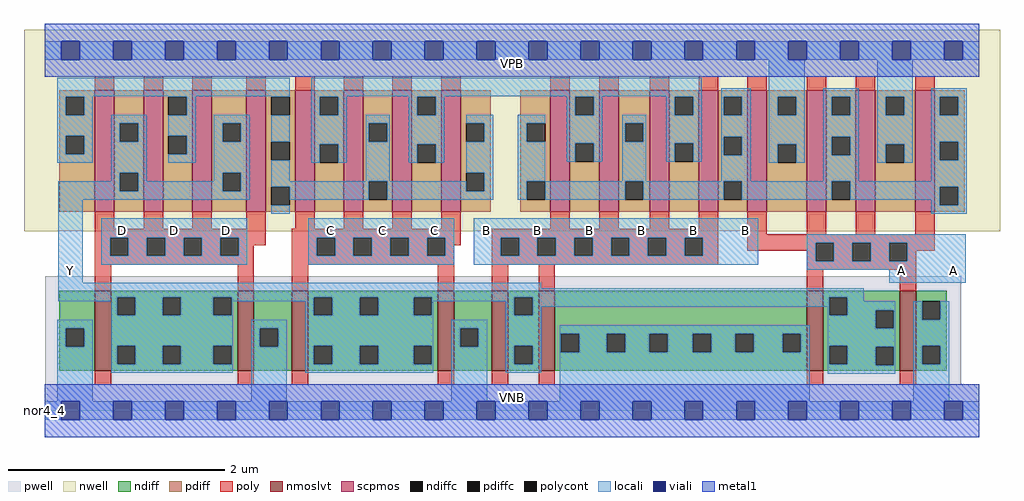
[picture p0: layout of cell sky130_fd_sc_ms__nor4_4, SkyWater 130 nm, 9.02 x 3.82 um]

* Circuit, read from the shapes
.subckt sky130_fd_sc_ms__nor4_4 A B C D VGND VNB VPB VPWR Y
XM1 Y D VGND VNB sky130_fd_pr__nfet_01v8_lvt w=0.74 l=0.15 m=2
XM2 Y C VGND VNB sky130_fd_pr__nfet_01v8_lvt w=0.74 l=0.15 m=2
XM3 Y B VGND VNB sky130_fd_pr__nfet_01v8_lvt w=0.74 l=0.15 m=2
XM4 Y A VGND VNB sky130_fd_pr__nfet_01v8_lvt w=0.74 l=0.15 m=2
XM5 Y D n1 VPB sky130_fd_pr__pfet_01v8 w=1.12 l=0.18 m=4
XM6 n2 C n1 VPB sky130_fd_pr__pfet_01v8 w=1.12 l=0.18 m=4
XM7 n2 B n3 VPB sky130_fd_pr__pfet_01v8 w=1.12 l=0.18 m=4
XM8 VPWR A n3 VPB sky130_fd_pr__pfet_01v8 w=1.12 l=0.18 m=4
.ends

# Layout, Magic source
magic
tech sky130A
magscale 1 2
<< nwell >>
rect -38 332 1766 704
<< pwell >>
rect 1 49 1694 248
rect 0 0 1728 49
<< scpmos >>
rect 93 368 129 592
rect 183 368 219 592
rect 273 368 309 592
rect 373 368 409 592
rect 463 368 499 592
rect 553 368 589 592
rect 643 368 679 592
rect 733 368 769 592
rect 935 368 971 592
rect 1025 368 1061 592
rect 1119 368 1155 592
rect 1209 368 1245 592
rect 1299 368 1335 592
rect 1409 368 1445 592
rect 1499 368 1535 592
rect 1609 368 1645 592
<< nmoslvt >>
rect 93 74 123 222
rect 357 74 387 222
rect 457 74 487 222
rect 727 74 757 222
rect 827 74 857 222
rect 913 74 943 222
rect 1409 74 1439 222
rect 1581 74 1611 222
<< ndiff >>
rect 27 152 93 222
rect 27 118 39 152
rect 73 118 93 152
rect 27 74 93 118
rect 123 210 357 222
rect 123 176 134 210
rect 168 176 218 210
rect 252 176 312 210
rect 346 176 357 210
rect 123 120 357 176
rect 123 86 134 120
rect 168 86 218 120
rect 252 86 312 120
rect 346 86 357 120
rect 123 74 357 86
rect 387 152 457 222
rect 387 118 398 152
rect 432 118 457 152
rect 387 74 457 118
rect 487 210 727 222
rect 487 176 498 210
rect 532 176 583 210
rect 617 176 682 210
rect 716 176 727 210
rect 487 120 727 176
rect 487 86 498 120
rect 532 86 583 120
rect 617 86 682 120
rect 716 86 727 120
rect 487 74 727 86
rect 757 152 827 222
rect 757 118 768 152
rect 802 118 827 152
rect 757 74 827 118
rect 857 210 913 222
rect 857 176 868 210
rect 902 176 913 210
rect 857 120 913 176
rect 857 86 868 120
rect 902 86 913 120
rect 857 74 913 86
rect 943 142 1409 222
rect 943 108 954 142
rect 988 108 1039 142
rect 1073 108 1118 142
rect 1152 108 1198 142
rect 1232 108 1277 142
rect 1311 108 1364 142
rect 1398 108 1409 142
rect 943 74 1409 108
rect 1439 210 1581 222
rect 1439 176 1450 210
rect 1484 186 1581 210
rect 1484 176 1536 186
rect 1439 152 1536 176
rect 1570 152 1581 186
rect 1439 120 1581 152
rect 1439 86 1450 120
rect 1484 118 1581 120
rect 1484 86 1536 118
rect 1439 84 1536 86
rect 1570 84 1581 118
rect 1439 74 1581 84
rect 1611 202 1668 222
rect 1611 168 1622 202
rect 1656 168 1668 202
rect 1611 120 1668 168
rect 1611 86 1622 120
rect 1656 86 1668 120
rect 1611 74 1668 86
<< pdiff >>
rect 27 580 93 592
rect 27 546 39 580
rect 73 546 93 580
rect 27 508 93 546
rect 27 474 39 508
rect 73 474 93 508
rect 27 368 93 474
rect 129 531 183 592
rect 129 497 139 531
rect 173 497 183 531
rect 129 440 183 497
rect 129 406 139 440
rect 173 406 183 440
rect 129 368 183 406
rect 219 580 273 592
rect 219 546 229 580
rect 263 546 273 580
rect 219 508 273 546
rect 219 474 229 508
rect 263 474 273 508
rect 219 368 273 474
rect 309 531 373 592
rect 309 497 329 531
rect 363 497 373 531
rect 309 440 373 497
rect 309 406 329 440
rect 363 406 373 440
rect 309 368 373 406
rect 409 580 463 592
rect 409 546 419 580
rect 453 546 463 580
rect 409 497 463 546
rect 409 463 419 497
rect 453 463 463 497
rect 409 414 463 463
rect 409 380 419 414
rect 453 380 463 414
rect 409 368 463 380
rect 499 580 553 592
rect 499 546 509 580
rect 543 546 553 580
rect 499 492 553 546
rect 499 458 509 492
rect 543 458 553 492
rect 499 368 553 458
rect 589 531 643 592
rect 589 497 599 531
rect 633 497 643 531
rect 589 424 643 497
rect 589 390 599 424
rect 633 390 643 424
rect 589 368 643 390
rect 679 580 733 592
rect 679 546 689 580
rect 723 546 733 580
rect 679 492 733 546
rect 679 458 689 492
rect 723 458 733 492
rect 679 368 733 458
rect 769 531 825 592
rect 769 497 779 531
rect 813 497 825 531
rect 769 440 825 497
rect 769 406 779 440
rect 813 406 825 440
rect 769 368 825 406
rect 879 531 935 592
rect 879 497 891 531
rect 925 497 935 531
rect 879 424 935 497
rect 879 390 891 424
rect 925 390 935 424
rect 879 368 935 390
rect 971 580 1025 592
rect 971 546 981 580
rect 1015 546 1025 580
rect 971 494 1025 546
rect 971 460 981 494
rect 1015 460 1025 494
rect 971 368 1025 460
rect 1061 531 1119 592
rect 1061 497 1073 531
rect 1107 497 1119 531
rect 1061 424 1119 497
rect 1061 390 1073 424
rect 1107 390 1119 424
rect 1061 368 1119 390
rect 1155 580 1209 592
rect 1155 546 1165 580
rect 1199 546 1209 580
rect 1155 494 1209 546
rect 1155 460 1165 494
rect 1199 460 1209 494
rect 1155 368 1209 460
rect 1245 580 1299 592
rect 1245 546 1255 580
rect 1289 546 1299 580
rect 1245 506 1299 546
rect 1245 472 1255 506
rect 1289 472 1299 506
rect 1245 424 1299 472
rect 1245 390 1255 424
rect 1289 390 1299 424
rect 1245 368 1299 390
rect 1335 580 1409 592
rect 1335 546 1355 580
rect 1389 546 1409 580
rect 1335 492 1409 546
rect 1335 458 1355 492
rect 1389 458 1409 492
rect 1335 368 1409 458
rect 1445 580 1499 592
rect 1445 546 1455 580
rect 1489 546 1499 580
rect 1445 506 1499 546
rect 1445 472 1455 506
rect 1489 472 1499 506
rect 1445 424 1499 472
rect 1445 390 1455 424
rect 1489 390 1499 424
rect 1445 368 1499 390
rect 1535 580 1609 592
rect 1535 546 1555 580
rect 1589 546 1609 580
rect 1535 492 1609 546
rect 1535 458 1555 492
rect 1589 458 1609 492
rect 1535 368 1609 458
rect 1645 580 1701 592
rect 1645 546 1655 580
rect 1689 546 1701 580
rect 1645 497 1701 546
rect 1645 463 1655 497
rect 1689 463 1701 497
rect 1645 414 1701 463
rect 1645 380 1655 414
rect 1689 380 1701 414
rect 1645 368 1701 380
<< ndiffc >>
rect 39 118 73 152
rect 134 176 168 210
rect 218 176 252 210
rect 312 176 346 210
rect 134 86 168 120
rect 218 86 252 120
rect 312 86 346 120
rect 398 118 432 152
rect 498 176 532 210
rect 583 176 617 210
rect 682 176 716 210
rect 498 86 532 120
rect 583 86 617 120
rect 682 86 716 120
rect 768 118 802 152
rect 868 176 902 210
rect 868 86 902 120
rect 954 108 988 142
rect 1039 108 1073 142
rect 1118 108 1152 142
rect 1198 108 1232 142
rect 1277 108 1311 142
rect 1364 108 1398 142
rect 1450 176 1484 210
rect 1536 152 1570 186
rect 1450 86 1484 120
rect 1536 84 1570 118
rect 1622 168 1656 202
rect 1622 86 1656 120
<< pdiffc >>
rect 39 546 73 580
rect 39 474 73 508
rect 139 497 173 531
rect 139 406 173 440
rect 229 546 263 580
rect 229 474 263 508
rect 329 497 363 531
rect 329 406 363 440
rect 419 546 453 580
rect 419 463 453 497
rect 419 380 453 414
rect 509 546 543 580
rect 509 458 543 492
rect 599 497 633 531
rect 599 390 633 424
rect 689 546 723 580
rect 689 458 723 492
rect 779 497 813 531
rect 779 406 813 440
rect 891 497 925 531
rect 891 390 925 424
rect 981 546 1015 580
rect 981 460 1015 494
rect 1073 497 1107 531
rect 1073 390 1107 424
rect 1165 546 1199 580
rect 1165 460 1199 494
rect 1255 546 1289 580
rect 1255 472 1289 506
rect 1255 390 1289 424
rect 1355 546 1389 580
rect 1355 458 1389 492
rect 1455 546 1489 580
rect 1455 472 1489 506
rect 1455 390 1489 424
rect 1555 546 1589 580
rect 1555 458 1589 492
rect 1655 546 1689 580
rect 1655 463 1689 497
rect 1655 380 1689 414
<< poly >>
rect 93 592 129 618
rect 183 592 219 618
rect 273 592 309 618
rect 373 592 409 618
rect 463 592 499 618
rect 553 592 589 618
rect 643 592 679 618
rect 733 592 769 618
rect 935 592 971 618
rect 1025 592 1061 618
rect 1119 592 1155 618
rect 1209 592 1245 618
rect 1299 592 1335 618
rect 1409 592 1445 618
rect 1499 592 1535 618
rect 1609 592 1645 618
rect 93 336 129 368
rect 183 336 219 368
rect 273 336 309 368
rect 373 336 409 368
rect 463 336 499 368
rect 553 336 589 368
rect 643 336 679 368
rect 733 336 769 368
rect 935 336 971 368
rect 1025 336 1061 368
rect 1119 336 1155 368
rect 1209 336 1245 368
rect 93 320 409 336
rect 93 286 121 320
rect 155 286 189 320
rect 223 286 257 320
rect 291 286 325 320
rect 359 306 409 320
rect 457 320 769 336
rect 359 286 387 306
rect 93 270 387 286
rect 93 222 123 270
rect 357 222 387 270
rect 457 286 503 320
rect 537 286 571 320
rect 605 286 639 320
rect 673 286 707 320
rect 741 306 769 320
rect 827 320 1245 336
rect 741 286 757 306
rect 457 270 757 286
rect 457 222 487 270
rect 727 222 757 270
rect 827 286 843 320
rect 877 286 911 320
rect 945 286 979 320
rect 1013 286 1047 320
rect 1081 286 1115 320
rect 1149 286 1183 320
rect 1217 286 1245 320
rect 1299 326 1335 368
rect 1409 326 1445 368
rect 1499 326 1535 368
rect 1609 326 1645 368
rect 1299 310 1645 326
rect 1299 296 1425 310
rect 827 270 1245 286
rect 1409 276 1425 296
rect 1459 276 1493 310
rect 1527 276 1561 310
rect 1595 296 1645 310
rect 1595 276 1611 296
rect 827 222 857 270
rect 913 222 943 270
rect 1409 260 1611 276
rect 1409 222 1439 260
rect 1581 222 1611 260
rect 93 48 123 74
rect 357 48 387 74
rect 457 48 487 74
rect 727 48 757 74
rect 827 48 857 74
rect 913 48 943 74
rect 1409 48 1439 74
rect 1581 48 1611 74
<< polycont >>
rect 121 286 155 320
rect 189 286 223 320
rect 257 286 291 320
rect 325 286 359 320
rect 503 286 537 320
rect 571 286 605 320
rect 639 286 673 320
rect 707 286 741 320
rect 843 286 877 320
rect 911 286 945 320
rect 979 286 1013 320
rect 1047 286 1081 320
rect 1115 286 1149 320
rect 1183 286 1217 320
rect 1425 276 1459 310
rect 1493 276 1527 310
rect 1561 276 1595 310
<< locali >>
rect 0 649 31 683
rect 65 649 127 683
rect 161 649 223 683
rect 257 649 319 683
rect 353 649 415 683
rect 449 649 511 683
rect 545 649 607 683
rect 641 649 703 683
rect 737 649 799 683
rect 833 649 895 683
rect 929 649 991 683
rect 1025 649 1087 683
rect 1121 649 1183 683
rect 1217 649 1279 683
rect 1313 649 1375 683
rect 1409 649 1471 683
rect 1505 649 1567 683
rect 1601 649 1663 683
rect 1697 649 1728 683
rect 23 581 453 615
rect 23 580 89 581
rect 23 546 39 580
rect 73 546 89 580
rect 229 580 279 581
rect 23 508 89 546
rect 23 474 39 508
rect 73 474 89 508
rect 23 458 89 474
rect 123 531 189 547
rect 123 497 139 531
rect 173 497 189 531
rect 123 440 189 497
rect 263 546 279 580
rect 419 580 453 581
rect 229 508 279 546
rect 263 474 279 508
rect 229 458 279 474
rect 313 531 379 547
rect 313 497 329 531
rect 363 497 379 531
rect 123 424 139 440
rect 25 406 139 424
rect 173 424 189 440
rect 313 440 379 497
rect 313 424 329 440
rect 173 406 329 424
rect 363 406 379 440
rect 25 390 379 406
rect 419 497 453 546
rect 419 424 453 463
rect 493 581 1215 615
rect 493 580 559 581
rect 493 546 509 580
rect 543 546 559 580
rect 673 580 739 581
rect 493 492 559 546
rect 493 458 509 492
rect 543 458 559 492
rect 594 531 638 547
rect 594 497 599 531
rect 633 497 638 531
rect 594 424 638 497
rect 673 546 689 580
rect 723 546 739 580
rect 965 580 1031 581
rect 673 492 739 546
rect 673 458 689 492
rect 723 458 739 492
rect 779 531 829 547
rect 813 497 829 531
rect 779 440 829 497
rect 419 414 599 424
rect 25 236 71 390
rect 453 390 599 414
rect 633 406 779 424
rect 813 406 829 440
rect 633 390 829 406
rect 875 531 925 547
rect 875 497 891 531
rect 875 424 925 497
rect 965 546 981 580
rect 1015 546 1031 580
rect 1149 580 1215 581
rect 965 494 1031 546
rect 965 460 981 494
rect 1015 460 1031 494
rect 1068 531 1112 547
rect 1068 497 1073 531
rect 1107 497 1112 531
rect 1068 424 1112 497
rect 1149 546 1165 580
rect 1199 546 1215 580
rect 1149 494 1215 546
rect 1149 460 1165 494
rect 1199 460 1215 494
rect 1251 580 1305 596
rect 1251 546 1255 580
rect 1289 546 1305 580
rect 1251 506 1305 546
rect 1251 472 1255 506
rect 1289 472 1305 506
rect 1251 424 1305 472
rect 1339 580 1405 649
rect 1339 546 1355 580
rect 1389 546 1405 580
rect 1339 492 1405 546
rect 1339 458 1355 492
rect 1389 458 1405 492
rect 1439 580 1505 596
rect 1439 546 1455 580
rect 1489 546 1505 580
rect 1439 506 1505 546
rect 1439 472 1455 506
rect 1489 472 1505 506
rect 1439 424 1505 472
rect 1539 580 1605 649
rect 1539 546 1555 580
rect 1589 546 1605 580
rect 1539 492 1605 546
rect 1539 458 1555 492
rect 1589 458 1605 492
rect 1639 580 1705 596
rect 1639 546 1655 580
rect 1689 546 1705 580
rect 1639 497 1705 546
rect 1639 463 1655 497
rect 1689 463 1705 497
rect 1639 424 1705 463
rect 875 390 891 424
rect 925 390 1073 424
rect 1107 390 1255 424
rect 1289 390 1455 424
rect 1489 414 1705 424
rect 1489 390 1655 414
rect 419 364 453 380
rect 1639 380 1655 390
rect 1689 380 1705 414
rect 1639 364 1705 380
rect 105 320 375 356
rect 105 286 121 320
rect 155 286 189 320
rect 223 286 257 320
rect 291 286 325 320
rect 359 286 375 320
rect 105 270 375 286
rect 487 320 757 356
rect 487 286 503 320
rect 537 286 571 320
rect 605 286 639 320
rect 673 286 707 320
rect 741 286 757 320
rect 487 270 757 286
rect 793 320 1319 356
rect 793 286 843 320
rect 877 286 911 320
rect 945 286 979 320
rect 1013 286 1047 320
rect 1081 286 1115 320
rect 1149 286 1183 320
rect 1217 286 1319 320
rect 793 270 1319 286
rect 1409 310 1703 326
rect 1409 276 1425 310
rect 1459 276 1493 310
rect 1527 276 1561 310
rect 1595 276 1703 310
rect 1409 260 1703 276
rect 1561 236 1703 260
rect 25 226 918 236
rect 25 210 1514 226
rect 25 202 134 210
rect 123 176 134 202
rect 168 176 218 210
rect 252 176 312 210
rect 346 202 498 210
rect 346 176 348 202
rect 23 152 89 168
rect 23 118 39 152
rect 73 118 89 152
rect 23 17 89 118
rect 123 120 348 176
rect 482 176 498 202
rect 532 176 583 210
rect 617 176 682 210
rect 716 202 868 210
rect 716 176 718 202
rect 123 86 134 120
rect 168 86 218 120
rect 252 86 312 120
rect 346 86 348 120
rect 123 70 348 86
rect 382 152 448 168
rect 382 118 398 152
rect 432 118 448 152
rect 382 17 448 118
rect 482 120 718 176
rect 852 176 868 202
rect 902 192 1450 210
rect 902 176 918 192
rect 482 86 498 120
rect 532 86 583 120
rect 617 86 682 120
rect 716 86 718 120
rect 482 70 718 86
rect 752 152 818 168
rect 752 118 768 152
rect 802 118 818 152
rect 752 17 818 118
rect 852 120 918 176
rect 1448 176 1450 192
rect 1484 202 1514 210
rect 1484 186 1572 202
rect 1484 176 1536 186
rect 852 86 868 120
rect 902 86 918 120
rect 852 70 918 86
rect 952 142 1414 158
rect 952 108 954 142
rect 988 108 1039 142
rect 1073 108 1118 142
rect 1152 108 1198 142
rect 1232 108 1277 142
rect 1311 108 1364 142
rect 1398 108 1414 142
rect 952 17 1414 108
rect 1448 152 1536 176
rect 1570 152 1572 186
rect 1448 120 1572 152
rect 1448 86 1450 120
rect 1484 118 1572 120
rect 1484 86 1536 118
rect 1448 84 1536 86
rect 1570 84 1572 118
rect 1448 68 1572 84
rect 1606 168 1622 202
rect 1656 168 1672 202
rect 1606 120 1672 168
rect 1606 86 1622 120
rect 1656 86 1672 120
rect 1606 17 1672 86
rect 0 -17 31 17
rect 65 -17 127 17
rect 161 -17 223 17
rect 257 -17 319 17
rect 353 -17 415 17
rect 449 -17 511 17
rect 545 -17 607 17
rect 641 -17 703 17
rect 737 -17 799 17
rect 833 -17 895 17
rect 929 -17 991 17
rect 1025 -17 1087 17
rect 1121 -17 1183 17
rect 1217 -17 1279 17
rect 1313 -17 1375 17
rect 1409 -17 1471 17
rect 1505 -17 1567 17
rect 1601 -17 1663 17
rect 1697 -17 1728 17
<< viali >>
rect 31 649 65 683
rect 127 649 161 683
rect 223 649 257 683
rect 319 649 353 683
rect 415 649 449 683
rect 511 649 545 683
rect 607 649 641 683
rect 703 649 737 683
rect 799 649 833 683
rect 895 649 929 683
rect 991 649 1025 683
rect 1087 649 1121 683
rect 1183 649 1217 683
rect 1279 649 1313 683
rect 1375 649 1409 683
rect 1471 649 1505 683
rect 1567 649 1601 683
rect 1663 649 1697 683
rect 31 -17 65 17
rect 127 -17 161 17
rect 223 -17 257 17
rect 319 -17 353 17
rect 415 -17 449 17
rect 511 -17 545 17
rect 607 -17 641 17
rect 703 -17 737 17
rect 799 -17 833 17
rect 895 -17 929 17
rect 991 -17 1025 17
rect 1087 -17 1121 17
rect 1183 -17 1217 17
rect 1279 -17 1313 17
rect 1375 -17 1409 17
rect 1471 -17 1505 17
rect 1567 -17 1601 17
rect 1663 -17 1697 17
<< metal1 >>
rect 0 683 1728 715
rect 0 649 31 683
rect 65 649 127 683
rect 161 649 223 683
rect 257 649 319 683
rect 353 649 415 683
rect 449 649 511 683
rect 545 649 607 683
rect 641 649 703 683
rect 737 649 799 683
rect 833 649 895 683
rect 929 649 991 683
rect 1025 649 1087 683
rect 1121 649 1183 683
rect 1217 649 1279 683
rect 1313 649 1375 683
rect 1409 649 1471 683
rect 1505 649 1567 683
rect 1601 649 1663 683
rect 1697 649 1728 683
rect 0 617 1728 649
rect 0 17 1728 49
rect 0 -17 31 17
rect 65 -17 127 17
rect 161 -17 223 17
rect 257 -17 319 17
rect 353 -17 415 17
rect 449 -17 511 17
rect 545 -17 607 17
rect 641 -17 703 17
rect 737 -17 799 17
rect 833 -17 895 17
rect 929 -17 991 17
rect 1025 -17 1087 17
rect 1121 -17 1183 17
rect 1217 -17 1279 17
rect 1313 -17 1375 17
rect 1409 -17 1471 17
rect 1505 -17 1567 17
rect 1601 -17 1663 17
rect 1697 -17 1728 17
rect 0 -49 1728 -17
<< labels >>
flabel pwell s 0 0 1728 49 0 FreeSans 200 0 0 0 VNB
port 6 nsew ground bidirectional
flabel nwell s 0 617 1728 666 0 FreeSans 200 0 0 0 VPB
port 7 nsew power bidirectional
rlabel comment s 0 0 0 0 4 nor4_4
flabel metal1 s 0 617 1728 666 0 FreeSans 340 0 0 0 VPWR
port 8 nsew power bidirectional
flabel metal1 s 0 0 1728 49 0 FreeSans 340 0 0 0 VGND
port 5 nsew ground bidirectional
flabel locali s 31 242 65 276 0 FreeSans 340 0 0 0 Y
port 9 nsew signal output
flabel locali s 1567 242 1601 276 0 FreeSans 340 0 0 0 A
port 1 nsew signal input
flabel locali s 1663 242 1697 276 0 FreeSans 340 0 0 0 A
port 1 nsew signal input
flabel locali s 799 316 833 350 0 FreeSans 340 0 0 0 B
port 2 nsew signal input
flabel locali s 895 316 929 350 0 FreeSans 340 0 0 0 B
port 2 nsew signal input
flabel locali s 991 316 1025 350 0 FreeSans 340 0 0 0 B
port 2 nsew signal input
flabel locali s 1087 316 1121 350 0 FreeSans 340 0 0 0 B
port 2 nsew signal input
flabel locali s 1183 316 1217 350 0 FreeSans 340 0 0 0 B
port 2 nsew signal input
flabel locali s 1279 316 1313 350 0 FreeSans 340 0 0 0 B
port 2 nsew signal input
flabel locali s 511 316 545 350 0 FreeSans 340 0 0 0 C
port 3 nsew signal input
flabel locali s 607 316 641 350 0 FreeSans 340 0 0 0 C
port 3 nsew signal input
flabel locali s 703 316 737 350 0 FreeSans 340 0 0 0 C
port 3 nsew signal input
flabel locali s 127 316 161 350 0 FreeSans 340 0 0 0 D
port 4 nsew signal input
flabel locali s 223 316 257 350 0 FreeSans 340 0 0 0 D
port 4 nsew signal input
flabel locali s 319 316 353 350 0 FreeSans 340 0 0 0 D
port 4 nsew signal input
<< properties >>
string LEFsite unit
string LEFclass CORE
string FIXED_BBOX 0 0 1728 666
string GDS_FILE $PDKPATH/libs.ref/sky130_fd_sc_ms/gds/sky130_fd_sc_ms.gds
string LEFsymmetry X Y
string GDS_END 2278224
string GDS_START 2264738
<< end >>
